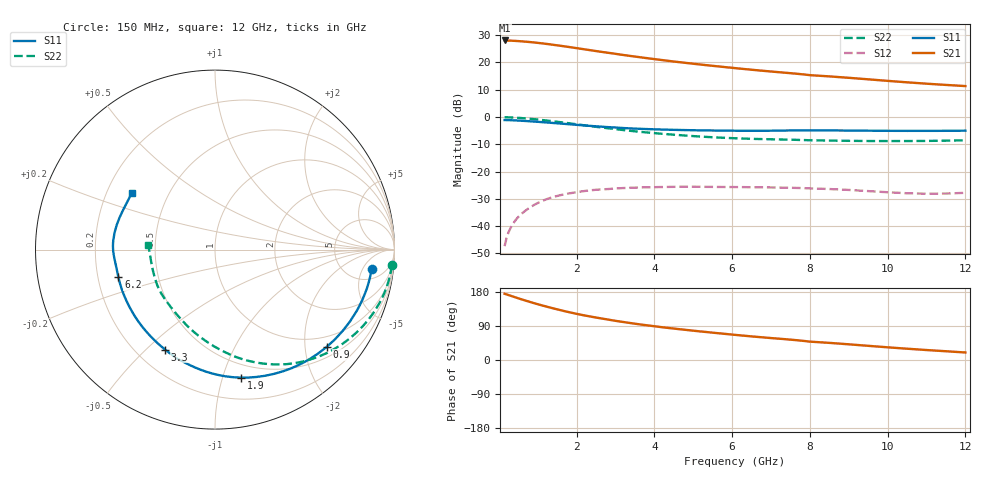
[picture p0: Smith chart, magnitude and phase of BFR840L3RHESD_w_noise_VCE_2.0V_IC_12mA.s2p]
! Infineon Technologies  Discrete & RF Semiconductors
! BFR840L3RHESD
! VCE =  2.0 V,  IC =  12 mA
! Common Emitter S-Parameters:  Jun 2012
# GHz  S  MA  R  50
!  f  S11  S21  S12  S22
! GHz  MAG  ANG  MAG  ANG  MAG  ANG  MAG  ANG
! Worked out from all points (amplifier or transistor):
!   91 points, 150 MHz to 12 GHz, reference 50 ohm
!   highest |S21| = 28.0 dB at 150 MHz (marker M1)
!   |S21| within 3 dB of that: start of sweep to 2.089 GHz
!   unconditionally stable (mu >= 1): 8.111 GHz to end of sweep
!   at 1.3 GHz: K = 0.15, MSG = 28.2 dB, |S12| = -29.8 dB
!   at 4.3 GHz: K = 0.45, MSG = 23.2 dB, |S12| = -25.6 dB
!   at 12 GHz: K = 2.01, MAG = 13.8 dB, |S12| = -27.8 dB
!   lowest NFmin = 0.78 dB at 450 MHz
!   S11 on the Smith chart (normalised r, x): 150 MHz: 8, -8; 900 MHz: 0.73, -2.48; 1.9 GHz: 0.38, -1.15; 3.3 GHz: 0.32, -0.57; 6.2 GHz: 0.29, -0.13; 12 GHz: 0.31, +0.28
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0.15  0.8795 -7.1  25.24 174.7  0.0043 74.3  0.989 -5.1
0.3  0.8734 -14.3  25.04 169.7  0.0092 74.4  0.982 -10.7
0.5  0.8599 -23.6  24.57 162.9  0.0147 75.2  0.9646 -17.7
0.7  0.8434 -32.5  23.95 156.4  0.0196 71.7  0.9407 -24.3
0.9  0.8253 -41.1  23.21 150.2  0.0243 66.1  0.9127 -30.6
1.1  0.8062 -49.3  22.38 144.4  0.0286 60.6  0.8823 -36.7
1.4  0.7767 -60.8  21.02 136.3  0.0342 53.8  0.8341 -45.2
1.7  0.747 -71.7  19.63 128.7  0.0385 48.7  0.7847 -53.1
1.9  0.7277 -78.6  18.71 124.1  0.0408 45.7  0.7519 -58.1
2.2  0.6999 -88.1  17.38 117.7  0.044 41.0  0.7044 -64.9
2.7  0.6599 -101.8  15.39 108.6  0.0474 34.2  0.6349 -75.1
3  0.6422 -109.6  14.37 103.4  0.0496 31.6  0.5999 -80.4
3.3  0.6226 -116.5  13.38 98.8  0.0502 28.8  0.5658 -85.8
3.7  0.6048 -124.9  12.26 93.0  0.0513 25.8  0.5293 -92.3
4.2  0.5891 -134.3  11.04 86.5  0.0521 22.8  0.4925 -99.9
5.1  0.5704 -149.3  9.286 76.3  0.0526 18.2  0.4422 -112.7
6.1  0.5603 -162.9  7.829 66.1  0.052 14.4  0.407 -125.8
6.2  0.5596 -164.1  7.703 65.1  0.052 14.0  0.4046 -127.1
8  0.5691 174.5  5.843 48.5  0.0492 9.9  0.3747 -150.9
8.5  0.5673 170.2  5.544 45.2  0.0479 9.1  0.3698 -155.4
10.5  0.5565 154.1  4.316 29.8  0.0401 13.2  0.3624 -173.9
12  0.5611 145.9  3.684 19.8  0.0408 24.9  0.3745 176.0
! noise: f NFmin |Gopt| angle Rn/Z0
0.45  0.78  0.25  6  0.16
0.9  0.81  0.25  11  0.16
1.9  0.84  0.27  32  0.15
3.5  0.84  0.27  53  0.14
4  0.86  0.27  62  0.13
5.5  0.88  0.28  77  0.13
7  0.94  0.28  96  0.12
8  1  0.27  107  0.11
10  1.1  0.25  127  0.11
12  1.22  0.25  164  0.11
